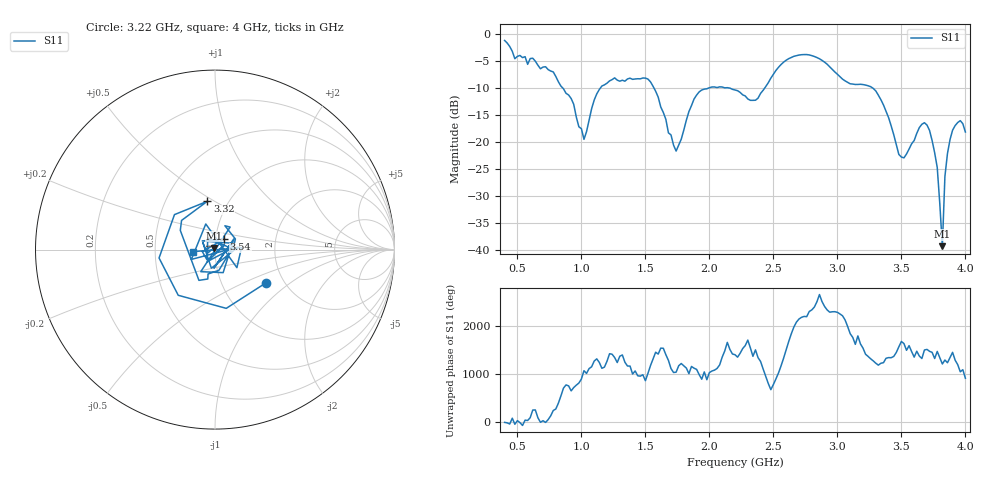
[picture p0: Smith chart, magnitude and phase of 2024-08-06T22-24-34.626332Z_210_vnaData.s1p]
!Created with skrf (http://scikit-rf.org).
# Hz S RI R 50.0
!freq ReS11 ImS11
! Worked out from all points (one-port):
!   181 points, 400 MHz to 4 GHz, reference 50 ohm
!   lowest |S11| = -39.3 dB at 3.82 GHz (marker M1), VSWR 1.02, Z = 49.4 + j0.889 ohm
!   |S11| at or under -10 dB: 855.8 MHz to 1.147 GHz (291.4 MHz wide, 29.1 % of centre); 1.568 GHz to 1.991 GHz (422.8 MHz wide, 23.8 % of centre); 3.278 GHz to end of sweep (the widest 3 of 4)
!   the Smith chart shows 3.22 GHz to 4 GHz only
!   S11 on the Smith chart (normalised r, x): 3.22 GHz: 1.61, -0.68; 3.32 GHz: 0.80, +0.46; 3.54 GHz: 1.10, +0.13; 4 GHz: 0.78, -0.02
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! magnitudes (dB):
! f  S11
! 400 MHz  -1.1
! 480 MHz  -4.5
! 860 MHz  -10.1
! 1.02 GHz  -19.5
! 1.14 GHz  -10.2
! 1.3 GHz  -8.7
! 1.52 GHz  -8.3
! 1.74 GHz  -21.7
! 1.76 GHz  -20.6
! 1.92 GHz  -10.7
! 2.2 GHz  -10.3
! 2.36 GHz  -12.2
! 2.66 GHz  -4.1
! 2.86 GHz  -4.5
! 3.1 GHz  -9.2
! 3.22 GHz  -9.4
! 3.32 GHz  -11.3
! 3.48 GHz  -22.3
! 3.54 GHz  -22.2
! 3.56 GHz  -21.3
! 3.66 GHz  -16.7
! 3.72 GHz  -17.8
! 3.78 GHz  -24.7
! 3.82 GHz  -39.3
! 3.84 GHz  -26.4
! 3.88 GHz  -19.5
! 3.96 GHz  -16.0
! 4 GHz  -18.1
